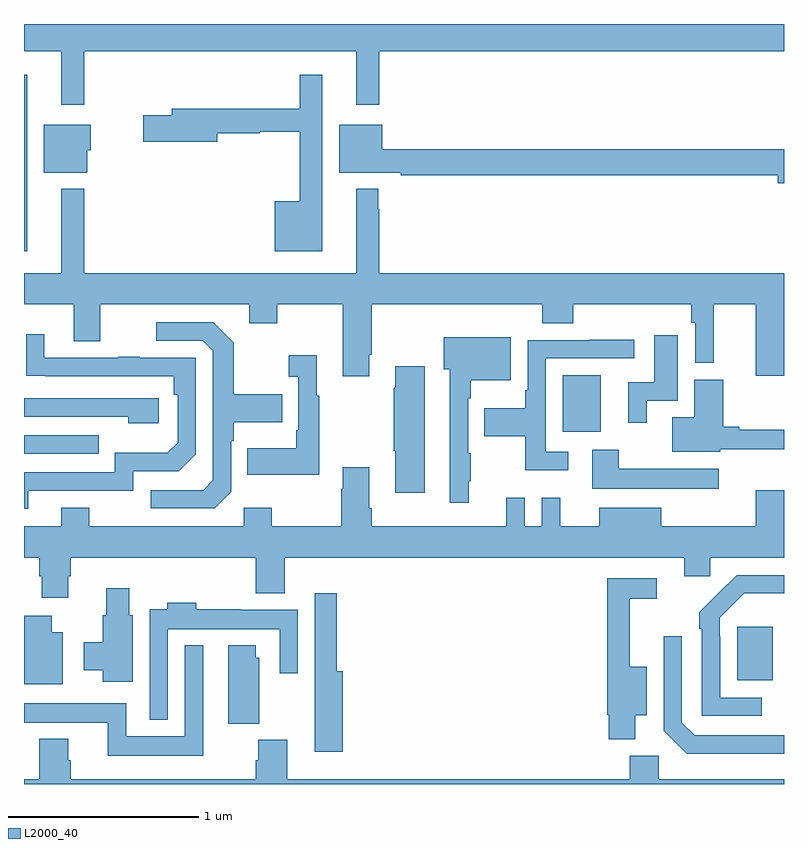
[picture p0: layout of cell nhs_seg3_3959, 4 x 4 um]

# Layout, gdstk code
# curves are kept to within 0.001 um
import gdstk
lib = gdstk.Library(unit=1e-6, precision=1e-09)
def R(c, l, rs):  # rectangles x0, y0, x1, y1
    for r in rs: c.add(gdstk.rectangle(r[:2], r[2:], *l))
def P(c, l, *ps):  # polygons
    for p in ps: c.add(gdstk.Polygon(p, *l))
L2000_40 = (2000, 40)

nhs_seg3_3959 = lib.new_cell('nhs_seg3_3959')
R(nhs_seg3_3959, L2000_40, [(320.753,690.947,320.941,691.228), (317,692.139,317.393,692.235), (319.835,692.255,320.035,692.551), (317,693.203,317.017,694.132)])
P(nhs_seg3_3959, L2000_40, [(317.317,694.256),(318.749,694.256),(318.749,693.975),(318.871,693.975),(318.871,694.256),(321,694.256),(321,694.4),(317,694.4),(317,694.256),(317.195,694.256),(317.195,693.975),(317.317,693.975)],
  [(318.571,694.132),(318.45,694.132),(318.45,693.955),(317.777,693.955),(317.777,693.921),(317.628,693.921),(317.628,693.779),(318.016,693.779),(318.016,693.826),(318.242,693.826),(318.242,693.834),(318.45,693.834),(318.45,693.466),(318.32,693.466),(318.32,693.203),(318.571,693.203)],
  [(321,693.74),(318.886,693.74),(318.886,693.871),(318.659,693.871),(318.659,693.617),(318.982,693.617),(318.982,693.604),(320.966,693.604),(320.966,693.562),(321,693.562)],
  [(317.332,693.735),(317.35,693.735),(317.35,693.871),(317.105,693.871),(317.105,693.617),(317.332,693.617)],
  [(318.817,692.659),(318.83,692.659),(318.83,692.924),(319.727,692.924),(319.727,692.825),(319.892,692.825),(319.892,692.924),(320.512,692.924),(320.512,692.828),(320.532,692.828),(320.532,692.616),(320.631,692.616),(320.631,692.924),(320.852,692.924),(320.852,692.55),(321,692.55),(321,693.088),(318.871,693.088),(318.871,693.425),(318.864,693.425),(318.864,693.532),(318.749,693.532),(318.749,693.088),(317.317,693.088),(317.317,693.532),(317.195,693.532),(317.195,693.088),(317,693.088),(317,692.924),(317.261,692.924),(317.261,692.73),(317.401,692.73),(317.401,692.924),(318.185,692.924),(318.185,692.825),(318.333,692.825),(318.333,692.924),(318.677,692.924),(318.677,692.547),(318.817,692.547)],
  [(318.09,691.938),(318.09,692.207),(318.103,692.207),(318.103,692.303),(318.359,692.303),(318.359,692.451),(318.103,692.451),(318.103,692.723),(317.997,692.829),(317.697,692.829),(317.697,692.733),(317.94,692.733),(317.994,692.679),(317.994,691.998),(317.943,691.947),(317.667,691.947),(317.667,691.851),(318.003,691.851)],
  [(317.023,691.944),(317.574,691.944),(317.574,692.046),(317.814,692.046),(317.904,692.136),(317.904,692.643),(317.609,692.643),(317.609,692.648),(317.497,692.648),(317.497,692.643),(317.107,692.643),(317.107,692.767),(317.011,692.767),(317.011,692.548),(317.788,692.547),(317.788,692.45),(317.808,692.45),(317.808,692.196),(317.755,692.143),(317.478,692.143),(317.478,692.04),(317,692.04),(317,691.848),(317.023,691.848)],
  [(320.278,692.418),(320.44,692.418),(320.44,692.761),(320.318,692.761),(320.318,692.514),(320.18,692.514),(320.18,692.301),(320.278,692.301)],
  [(319.34,691.993),(319.351,691.993),(319.351,692.141),(319.338,692.141),(319.338,692.429),(319.351,692.429),(319.351,692.525),(319.561,692.525),(319.561,692.752),(319.208,692.752),(319.208,692.582),(319.241,692.582),(319.241,691.881),(319.34,691.881)],
  [(319.864,692.148),(319.746,692.148),(319.746,692.64),(320.212,692.64),(320.212,692.738),(319.975,692.738),(319.975,692.736),(319.65,692.736),(319.65,692.473),(319.638,692.473),(319.638,692.377),(319.423,692.377),(319.423,692.23),(319.638,692.23),(319.638,692.051),(319.864,692.051)],
  [(318.553,692.443),(318.541,692.443),(318.541,692.656),(318.393,692.656),(318.393,692.543),(318.444,692.543),(318.444,692.263),(318.432,692.263),(318.432,692.167),(318.175,692.167),(318.175,692.027),(318.553,692.027)],
  [(319.108,692.599),(318.953,692.599),(318.953,692.486),(318.946,692.486),(318.946,692.155),(318.953,692.155),(318.953,691.932),(319.108,691.932)],
  [(320.664,692.162),(321,692.162),(321,692.264),(320.764,692.264),(320.764,692.279),(320.681,692.279),(320.681,692.527),(320.528,692.527),(320.528,692.329),(320.411,692.329),(320.411,692.15),(320.664,692.15)],
  [(317.71,692.43),(317,692.43),(317,692.334),(317.549,692.334),(317.549,692.3),(317.71,692.3)],
  [(320.656,692.059),(320.131,692.059),(320.131,692.158),(319.991,692.158),(319.991,691.955),(320.656,691.955)],
  [(317.233,691.494),(317.246,691.494),(317.246,691.592),(318.221,691.592),(318.221,691.403),(318.373,691.403),(318.373,691.592),(320.474,691.592),(320.474,691.494),(320.613,691.494),(320.613,691.592),(321,691.592),(321,691.945),(320.852,691.945),(320.852,691.756),(320.353,691.756),(320.353,691.855),(320.027,691.855),(320.027,691.756),(319.823,691.756),(319.823,691.906),(319.725,691.906),(319.725,691.756),(319.635,691.756),(319.635,691.906),(319.538,691.906),(319.538,691.756),(318.83,691.756),(318.83,691.852),(318.817,691.852),(318.817,692.068),(318.677,692.068),(318.677,691.955),(318.67,691.955),(318.67,691.756),(318.303,691.756),(318.303,691.855),(318.156,691.855),(318.156,691.756),(317.343,691.756),(317.343,691.855),(317.195,691.855),(317.195,691.756),(317,691.756),(317,691.592),(317.081,691.592),(317.081,691.494),(317.093,691.494),(317.093,691.38),(317.233,691.38)],
  [(320.884,690.855),(320.664,690.855),(320.664,691.175),(320.661,691.175),(320.661,691.275),(320.79,691.404),(321,691.404),(321,691.5),(320.75,691.5),(320.553,691.305),(320.553,691.217),(320.568,691.217),(320.568,690.759),(320.884,690.759)],
  [(320.218,690.761),(320.278,690.761),(320.278,691.018),(320.189,691.018),(320.189,691.374),(320.329,691.374),(320.329,691.482),(320.071,691.482),(320.071,690.765),(320.078,690.765),(320.078,690.635),(320.218,690.635)],
  [(317.572,691.287),(317.554,691.287),(317.554,691.429),(317.432,691.429),(317.432,691.287),(317.414,691.287),(317.414,691.146),(317.315,691.146),(317.315,690.998),(317.414,690.998),(317.414,690.939),(317.572,690.939)],
  [(318.677,690.994),(318.647,690.994),(318.647,691.405),(318.531,691.405),(318.531,690.89),(318.53,690.89),(318.53,690.57),(318.677,690.57)],
  [(317.757,691.214),(318.345,691.214),(318.345,690.984),(318.441,690.984),(318.441,691.318),(318.137,691.318),(318.137,691.321),(317.906,691.321),(317.906,691.354),(317.753,691.354),(317.753,691.321),(317.661,691.321),(317.661,690.737),(317.757,690.737)],
  [(317.203,691.198),(317.146,691.198),(317.146,691.285),(317,691.285),(317,690.926),(317.203,690.926)],
  [(321,690.657),(320.529,690.657),(320.463,690.723),(320.463,691.177),(320.367,691.177),(320.367,690.681),(320.488,690.56),(321,690.56)],
  [(318.238,691.065),(318.22,691.065),(318.22,691.129),(318.074,691.129),(318.074,690.718),(318.238,690.718)],
  [(317.944,691.129),(317.847,691.129),(317.847,690.652),(317.538,690.652),(317.538,690.826),(317,690.826),(317,690.722),(317.441,690.722),(317.441,690.548),(317.944,690.548)],
  [(321,690.424),(320.34,690.424),(320.34,690.55),(320.189,690.55),(320.189,690.424),(318.386,690.424),(318.386,690.633),(318.233,690.633),(318.233,690.524),(318.221,690.524),(318.221,690.424),(317.246,690.424),(317.246,690.525),(317.233,690.525),(317.233,690.637),(317.081,690.637),(317.081,690.424),(317,690.424),(317,690.4),(321,690.4)])

lib.write_gds('nhs_seg3_3959.gds')
